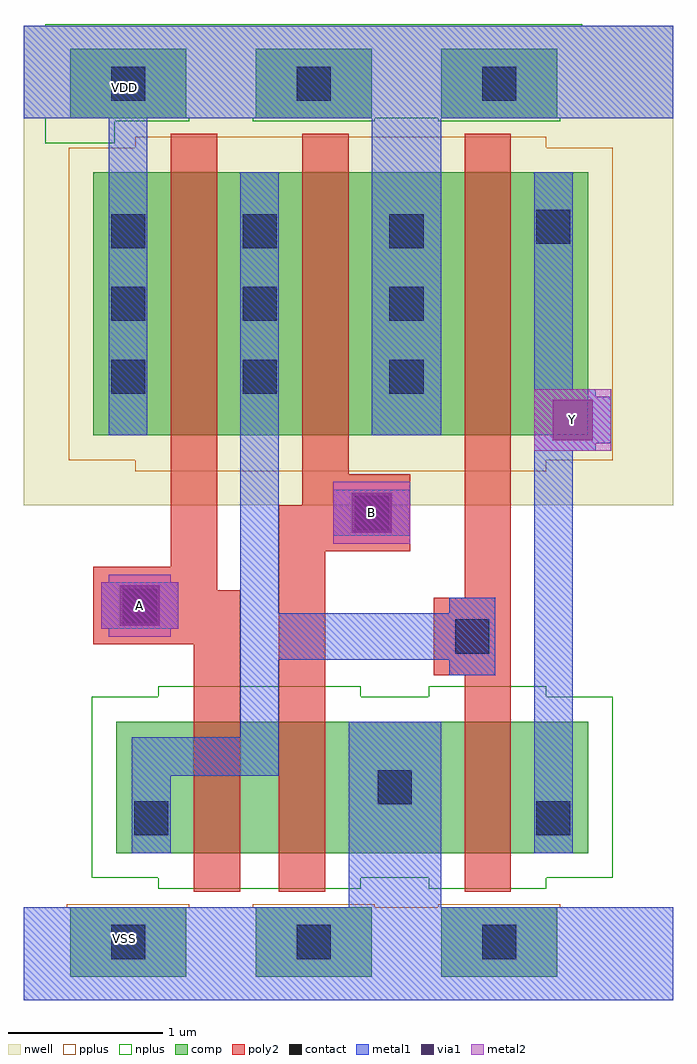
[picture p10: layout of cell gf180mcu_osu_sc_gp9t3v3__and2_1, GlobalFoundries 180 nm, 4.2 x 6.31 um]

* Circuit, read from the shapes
.subckt gf180mcu_osu_sc_gp9t3v3__and2_1 A B VDD VSS Y
XM1 n1 A n2 VSS nfet_03v3 w=0.85u l=0.3u
XM2 VSS B n1 VSS nfet_03v3 w=0.85u l=0.3u
XM3 Y n2 VSS VSS nfet_03v3 w=0.85u l=0.3u
XM4 n2 A VDD VDD pfet_03v3 w=1.7u l=0.3u
XM5 VDD B n2 VDD pfet_03v3 w=1.7u l=0.3u
XM6 Y n2 VDD VDD pfet_03v3 w=1.7u l=0.3u
.ends

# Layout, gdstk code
import gdstk
lib = gdstk.Library(unit=1e-6, precision=1e-09)
def R(c, l, rs):  # rectangles x0, y0, x1, y1
    for r in rs: c.add(gdstk.rectangle(r[:2], r[2:], *l))
def A(c, l, x, y, w, h, nx, ny, dx, dy):  # array of equal rectangles
    R(c, l, [(x+i*dx, y+j*dy, x+i*dx+w, y+j*dy+h) for i in range(nx) for j in range(ny)])
nwell = (21, 0)
comp = (22, 0)
poly2 = (30, 0)
pplus = (31, 0)
nplus = (32, 0)
contact = (33, 0)
metal1 = (34, 0)
via1 = (35, 0)
metal2 = (36, 0)

gf180mcu_osu_sc_gp9t3v3_ = lib.new_cell('gf180mcu_osu_sc_gp9t3v3__and2_1')
R(gf180mcu_osu_sc_gp9t3v3_, nwell, [(0,3.2,4.2,6.3)])
A(gf180mcu_osu_sc_gp9t3v3_, comp, 0.3, 0.15, 0.75, 0.45, 3, 2, 1.2, 5.55)
R(gf180mcu_osu_sc_gp9t3v3_, comp, [(0.6,0.95,3.65,1.8), (0.45,3.65,3.65,5.35)])
R(gf180mcu_osu_sc_gp9t3v3_, poly2, [(1.1,0.7,1.4,2.3), (1.65,0.7,1.95,2.9), (2.85,0.7,3.15,2.1), (2.65,2.1,3.15,2.6), (0.45,2.3,1.4,2.65), (2.85,2.6,3.15,5.6), (0.45,2.65,1.25,2.8), (0.95,2.8,1.25,5.6), (1.65,2.9,2.5,3.2), (1.8,3.2,2.5,3.4), (1.8,3.4,2.1,5.6)])
A(gf180mcu_osu_sc_gp9t3v3_, pplus, 0.28, 0.13, 0.79, 0.49, 3, 1, 1.2, 0)
R(gf180mcu_osu_sc_gp9t3v3_, pplus, [(0,0,4.2,0.6), (0.72,3.42,3.38,3.49), (0.29,3.49,3.81,5.51), (0.72,5.51,3.38,5.58)])
R(gf180mcu_osu_sc_gp9t3v3_, nplus, [(0.87,0.72,2.18,0.79), (2.62,0.72,3.38,0.79), (0.44,0.79,3.81,1.96), (0.87,1.96,2.18,2.03), (2.62,1.96,3.38,2.03), (0.14,5.54,0.59,5.68), (0.14,5.68,1.07,5.7), (1.48,5.68,2.27,5.7), (2.68,5.68,3.47,5.7), (0,5.7,4.2,6.3), (0,5.7,4.2,6.3), (0.14,6.3,3.61,6.31)])
A(gf180mcu_osu_sc_gp9t3v3_, contact, 0.565, 0.265, 0.22, 0.22, 3, 2, 1.2, 5.55)
A(gf180mcu_osu_sc_gp9t3v3_, contact, 0.565, 3.92, 0.22, 0.22, 1, 3, 0, 0.47)
A(gf180mcu_osu_sc_gp9t3v3_, contact, 1.415, 3.92, 0.22, 0.22, 1, 3, 0, 0.47)
A(gf180mcu_osu_sc_gp9t3v3_, contact, 2.365, 3.92, 0.22, 0.22, 1, 3, 0, 0.47)
R(gf180mcu_osu_sc_gp9t3v3_, contact, [(0.715,1.065,0.935,1.285), (3.315,1.065,3.535,1.285), (2.29,1.265,2.51,1.485), (2.79,2.24,3.01,2.46), (0.64,2.44,0.86,2.66), (2.14,3.04,2.36,3.26), (3.315,4.89,3.535,5.11)])
R(gf180mcu_osu_sc_gp9t3v3_, metal1, [(0,0,4.2,0.6), (2.1,0.6,2.7,1.8), (0.7,0.95,0.95,1.45), (3.3,0.95,3.55,3.55), (0.7,1.45,1.65,1.7), (1.4,1.7,1.65,2.2), (2.75,2.1,3.05,2.2), (1.4,2.2,3.05,2.5), (0.5,2.4,1,2.7), (1.4,2.5,1.65,5.35), (2.75,2.5,3.05,2.6), (2,3,2.5,3.3), (3.3,3.55,3.7,3.6), (3.3,3.6,3.8,3.9), (0.55,3.65,0.8,5.7), (2.25,3.65,2.7,5.7), (3.3,3.9,3.7,3.95), (3.3,3.95,3.55,5.35), (0,5.7,4.2,6.3)])
R(gf180mcu_osu_sc_gp9t3v3_, via1, [(0.62,2.42,0.88,2.68), (2.12,3.02,2.38,3.28), (3.42,3.62,3.68,3.88)])
R(gf180mcu_osu_sc_gp9t3v3_, metal2, [(0.55,2.35,0.95,2.4), (0.5,2.4,1,2.7), (0.55,2.7,0.95,2.75), (2,2.95,2.5,3.35), (3.3,3.55,3.8,3.95)])
gf180mcu_osu_sc_gp9t3v3_.add(gdstk.Label('VDD', (0.65,5.9), layer=22, texttype=0))
gf180mcu_osu_sc_gp9t3v3_.add(gdstk.Label('VSS', (0.65,0.4), layer=22, texttype=0))
gf180mcu_osu_sc_gp9t3v3_.add(gdstk.Label('A', (0.75,2.55), layer=36, texttype=10))
gf180mcu_osu_sc_gp9t3v3_.add(gdstk.Label('B', (2.25,3.15), layer=36, texttype=10))
gf180mcu_osu_sc_gp9t3v3_.add(gdstk.Label('Y', (3.55,3.75), layer=36, texttype=10))

lib.write_gds('gf180mcu_osu_sc_gp9t3v3__and2_1.gds')
